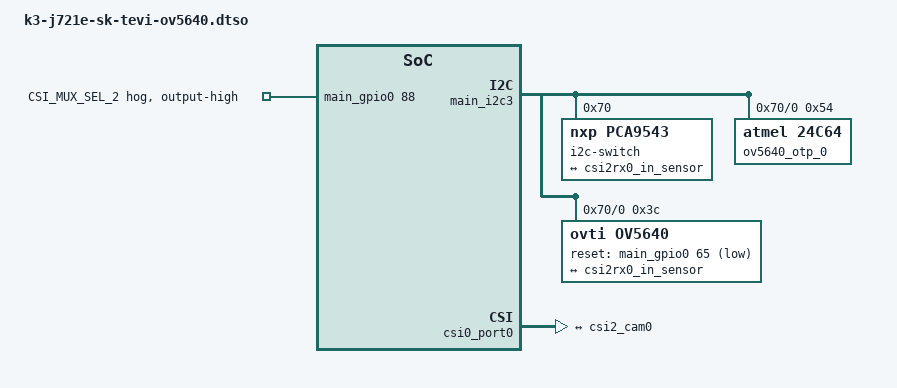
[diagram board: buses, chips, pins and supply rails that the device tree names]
// SPDX-License-Identifier: GPL-2.0
/*
 * LI OV5640 MIPI Camera module.
 *
 * Copyright (C) 2021 Texas Instruments Incorporated - http://www.ti.com/
 */

/dts-v1/;
/plugin/;

#include <dt-bindings/gpio/gpio.h>
#include <dt-bindings/interrupt-controller/irq.h>
#include "k3-pinctrl.h"

/ {
	fragment@101 {
		target-path = "/";

		__overlay__ {
			clk_ov5640_fixed: ov5640-xclk {
				compatible = "fixed-clock";
				#clock-cells = <0>;
				clock-frequency = <24000000>;
			};
		};
	};
};

&main_pmx0 {
	main_rpi_cam0_pins_default: main-rpi-cam0-pins-default {
		pinctrl-single,pins = <
			J721E_IOPAD(0x1D4, PIN_OUTPUT, 7) /* (Y3) SPI1_CS0 */
			J721E_IOPAD(0x1D8, PIN_OUTPUT, 7) /* (W4) SPI1_CS1 */
		>;
	};

	main_csi_mux_sel2_pins_default: main-csi-mux-sel2-pins-default {
		pinctrl-single,pins = <
			J721E_IOPAD(0x164, PIN_OUTPUT, 7) /* (V29) RGMII5_TD2 */
		>;
	};
};

&main_gpio0 {
	pinctrl-names = "default";
	pinctrl-0 = <&main_csi_mux_sel2_pins_default>;

	csi-mux-hog {
		/* CSI_MUX_SEL_2 */
		gpio-hog;
		gpios = <88 GPIO_ACTIVE_HIGH>;
		output-high;
		line-name = "CSI_MUX_SEL_2";
	};
};

&main_i2c3 {
	#address-cells = <1>;
	#size-cells = <0>;
	status = "okay";

	i2c-switch@70 {
		compatible = "nxp,pca9543";
		#address-cells = <1>;
		#size-cells = <0>;
		reg = <0x70>;

		/* CAM0 I2C */
		cam0_i2c: i2c@0 {
			#address-cells = <1>;
			#size-cells = <0>;
			reg = <0>;

			ov5640_otp_0: eeprom@54 {
				compatible = "atmel,24c64";
				reg = <0x54>;
				read-only;
			};

			ov5640: camera@3c {
				compatible = "ovti,ov5640";
				reg = <0x3c>;

				pinctrl-names = "default";
				pinctrl-0 = <&main_rpi_cam0_pins_default>;

				reset-gpios = <&main_gpio0 65 GPIO_ACTIVE_LOW>;		//CSI0_RST_N_GPIO0_65

				clocks = <&clk_ov5640_fixed>;
				clock-names = "xclk";

				nvmem = <&ov5640_otp_0>;
				nvmem-names = "calib-data";

				port {
					csi2_cam0: endpoint {
						remote-endpoint = <&csi2rx0_in_sensor>;
						clock-lanes = <0>;
						data-lanes = <1 2>;
					};
				};
			};
		};
	};
};

&csi0_port0 {
	status = "okay";

	csi2rx0_in_sensor: endpoint {
		remote-endpoint = <&csi2_cam0>;
		bus-type = <4>; /* CSI2 DPHY. */
		clock-lanes = <0>;
		data-lanes = <1 2>;
	};
};
